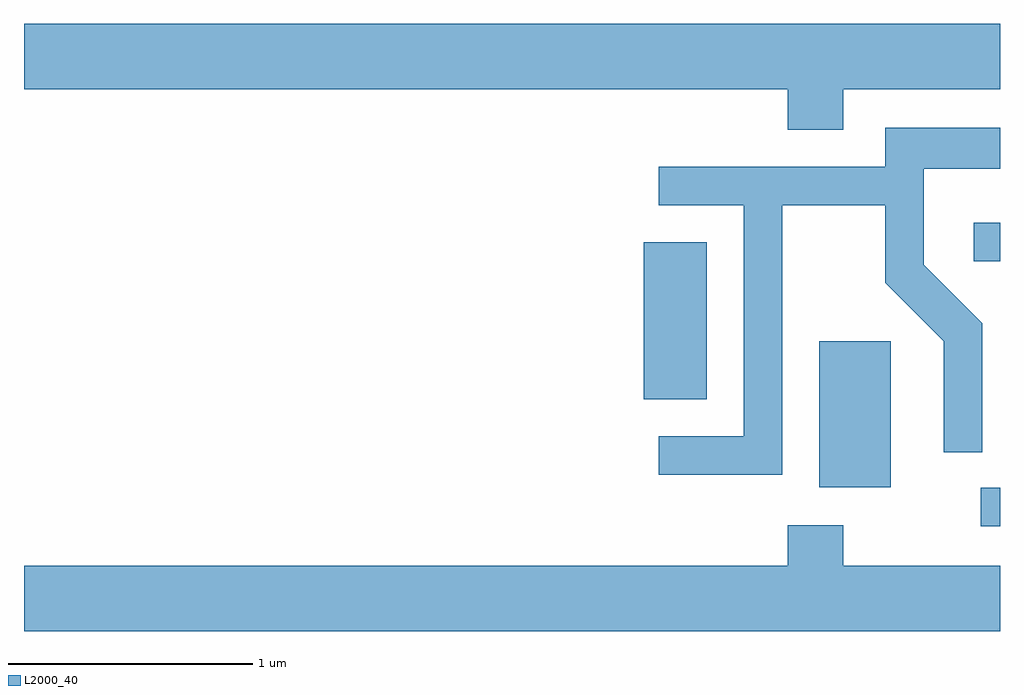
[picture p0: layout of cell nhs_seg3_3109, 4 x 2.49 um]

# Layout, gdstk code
import gdstk
lib = gdstk.Library(unit=1e-6, precision=1e-09)
def R(c, l, rs):  # rectangles x0, y0, x1, y1
    for r in rs: c.add(gdstk.rectangle(r[:2], r[2:], *l))
def P(c, l, *ps):  # polygons
    for p in ps: c.add(gdstk.Polygon(p, *l))
L2000_40 = (2000, 40)

nhs_seg3_3109 = lib.new_cell('nhs_seg3_3109')
R(nhs_seg3_3109, L2000_40, [(279.533,1215.246,279.611,1215.404), (278.871,1215.406,279.164,1216.004), (278.151,1215.766,278.409,1216.409), (279.503,1216.331,279.611,1216.489)])
P(nhs_seg3_3109, L2000_40, [(278.969,1217.036),(279.611,1217.036),(279.611,1217.304),(275.611,1217.304),(275.611,1217.036),(278.741,1217.036),(278.741,1216.871),(278.969,1216.871)],
  [(278.719,1216.561),(279.141,1216.561),(279.141,1216.244),(279.381,1216.004),(279.381,1215.548),(279.539,1215.548),(279.539,1216.077),(279.299,1216.317),(279.299,1216.711),(279.611,1216.711),(279.611,1216.879),(279.141,1216.879),(279.141,1216.719),(278.213,1216.719),(278.213,1216.561),(278.561,1216.561),(278.561,1215.614),(278.213,1215.614),(278.213,1215.456),(278.719,1215.456)],
  [(279.611,1215.084),(278.969,1215.084),(278.969,1215.249),(278.741,1215.249),(278.741,1215.084),(275.611,1215.084),(275.611,1214.816),(279.611,1214.816)])

lib.write_gds('nhs_seg3_3109.gds')
